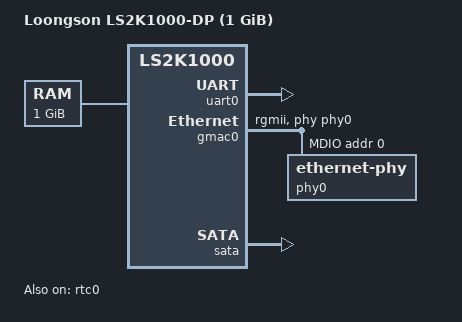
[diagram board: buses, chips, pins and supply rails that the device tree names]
/dts-v1/;

#include "loongson-2k1000.dtsi"

/ {
	model = "Loongson LS2K1000-DP (1 GiB)";
	compatible = "loongson,ls2k1000-dp", "loongson,ls2k1000";

	aliases {
		serial0 = &uart0;
		ethernet0 = &gmac0;
	};

	chosen {
		stdout-path = "serial0:115200n8";
	};

	memory@0 {
		device_type = "memory";
		reg = <0x0 0x00000000 0x0 0x10000000>,
		      <0x0 0x90000000 0x0 0x30000000>;
	};

	reserved-memory {
		#address-cells = <2>;
		#size-cells = <2>;
		ranges;

		firmware@cbf4c30 {
			reg = <0x0 0x0cbf4c30 0x0 0x0200b3d0>;
			no-map;
		};

		bootparam@f000000 {
			reg = <0x0 0x0f000000 0x0 0x01000000>;
			no-map;
		};
	};
};

&uart0 {
	status = "okay";
};

&rtc0 {
	status = "okay";
};

&gmac0 {
	status = "okay";
	phy-mode = "rgmii";
	phy-handle = <&phy0>;

	mdio {
		compatible = "snps,dwmac-mdio";
		#address-cells = <1>;
		#size-cells = <0>;

		phy0: ethernet-phy@0 {
			reg = <0>;
		};
	};
};

&sata {
	ports-implemented = <1>;
	status = "okay";
};
